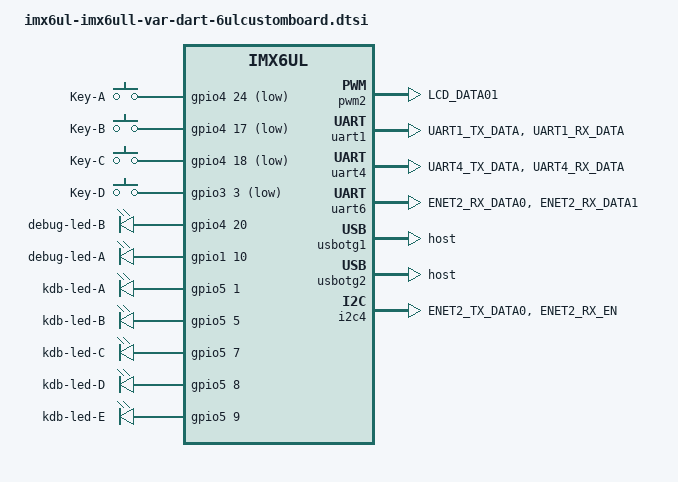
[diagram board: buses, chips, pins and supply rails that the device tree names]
/*
 * Copyright (C) 2015-2019 Variscite Ltd. - https://www.variscite.com
 *
 * This program is free software; you can redistribute it and/or modify
 * it under the terms of the GNU General Public License version 2 as
 * published by the Free Software Foundation.
 */

/ {
	chosen {
		stdout-path = &uart1;
	};

	keys {
		compatible = "gpio-keys";
		pinctrl-names = "default";
		pinctrl-0 = <&pinctrl_gpio_keys2>;

		keya {
			label = "Key-A";
			gpios = <&gpio4 24 GPIO_ACTIVE_LOW>;
			linux,code = <KEY_A>;
			wakeup-source;
		};

		keyb {
			label = "Key-B";
			gpios = <&gpio4 17 GPIO_ACTIVE_LOW>;
			linux,code = <KEY_B>;
			wakeup-source;
		};
		
		keyc {
			label = "Key-C";
			gpios = <&gpio4 18 GPIO_ACTIVE_LOW>;
			linux,code = <KEY_C>;
			wakeup-source;
		};
		
		keyd {
			label = "Key-D";
			gpios = <&gpio3 3 GPIO_ACTIVE_LOW>;
			linux,code = <KEY_D>;
			wakeup-source;
		};					
	};

	leds {
		compatible = "gpio-leds";
		pinctrl-names = "default";
		pinctrl-0 = <&pinctrl_gpio_leds>, <&pinctrl_gpio_leds2>;

		d16_led {
			gpios = <&gpio4 20 GPIO_ACTIVE_HIGH>;
			label = "debug-led-B";			
			linux,default-trigger = "heartbeat";
		};
		
		debug_ledA {
			gpios = <&gpio1 10 GPIO_ACTIVE_HIGH>;
			label = "debug-led-A";
		};		
		
		keyboard_ledA {
			gpios = <&gpio5 1 GPIO_ACTIVE_HIGH>;
			label = "kdb-led-A";
		};
		
		keyboard_ledB {
			gpios = <&gpio5 5 GPIO_ACTIVE_HIGH>;
			label = "kdb-led-B";
		};
		
		keyboard_ledC {
			gpios = <&gpio5 7 GPIO_ACTIVE_HIGH>;
			label = "kdb-led-C";
		};
		
		keyboard_ledD {
			gpios = <&gpio5 8 GPIO_ACTIVE_HIGH>;
			label = "kdb-led-D";
		};
		
		keyboard_ledE {
			gpios = <&gpio5 9 GPIO_ACTIVE_HIGH>;
			label = "kdb-led-E";
		};						
	};
};

&iomuxc {
	pinctrl-names = "default";
	pinctrl-0 = <&pinctrl_gpio_rele>, <&pinctrl_lora>, <&pinctrl_gpio_modem>, <&pinctrl_gpio_other>;
	
	pinctrl_gpio_other: gpioothergrp {
		fsl,pins = <
			MX6UL_PAD_UART3_RTS_B__GPIO1_IO27	0x17059 /* tamper sw */
			MX6UL_PAD_LCD_DATA00__GPIO3_IO05	0x10030 /* enable ricarica */
			MX6UL_PAD_UART1_CTS_B__GPIO1_IO18   0x1b0b0	/* production test mode */
			MX6UL_PAD_UART1_RTS_B__GPIO1_IO19   0x1b0b0 /* ready signal */
			MX6UL_PAD_CSI_DATA01__GPIO4_IO22    0x1b0b0 /* battery switch */
		>;	
	};	
	
	pinctrl_gpio_modem: modemgrp {
		fsl,pins = <
			MX6UL_PAD_GPIO1_IO09__GPIO1_IO09	0x10030 /* enable V modem */		
			MX6UL_PAD_CSI_DATA02__GPIO4_IO23	0x10030 /* powerkey */
			MX6UL_PAD_CSI_DATA00__GPIO4_IO21	0x10030 /* reset */
		>;	
	};

	pinctrl_gpio_rele: relegrp {
		fsl,pins = <
			MX6UL_PAD_LCD_DATA20__GPIO3_IO25	0x10030 /* rele 1 HYST */
			MX6UL_PAD_LCD_DATA21__GPIO3_IO26	0x10030 /* rele 2 HYST */
			MX6UL_PAD_LCD_DATA22__GPIO3_IO27	0x10030 /* rele 3 HYST */
			MX6UL_PAD_LCD_DATA23__GPIO3_IO28	0x10030 /* rele 4 HYST */
		>;
	};
	
	pinctrl_gpio_keys2: gpiokeys2grp {
		fsl,pins = <
			MX6UL_PAD_CSI_DATA03__GPIO4_IO24	0x17059 /* pulsante A PU 47K */
			MX6UL_PAD_CSI_MCLK__GPIO4_IO17		0x17059 /* pulsante B PU 47K */
			MX6UL_PAD_CSI_PIXCLK__GPIO4_IO18	0x17059 /* pulsante C PU 47K */
			MX6UL_PAD_LCD_VSYNC__GPIO3_IO03	    0x17059 /* pulsante D PU 47K */
		>;			
	};

	pinctrl_lora: lora_gpiogrp {
		fsl,pins = <
			MX6UL_PAD_ENET2_TX_DATA1__GPIO2_IO12	0x17059 /* LORA V_MCU enable PU 47K 0=enable*/
			MX6UL_PAD_UART3_TX_DATA__GPIO1_IO24		0x17059 /* LORA wakeup */
			MX6UL_PAD_UART3_CTS_B__GPIO1_IO26		0x10030 /* LORA reset */
			MX6UL_PAD_UART3_RX_DATA__GPIO1_IO25		0x10030 /* LORA boot */
			MX6UL_PAD_LCD_ENABLE__GPIO3_IO01		0x10030 /* LORA gpio A */
			MX6UL_PAD_LCD_RESET__GPIO3_IO04			0x10030 /* LORA gpio B */
		>;
	};	
	
	pinctrl_gpio_leds: gpio_ledsgrp {
		fsl,pins = <
			MX6UL_PAD_JTAG_MOD__GPIO1_IO10		0x1b0b0 /* led DBG-A */
			MX6UL_PAD_CSI_HSYNC__GPIO4_IO20		0x1b0b0 /* led DBG-B */
		>;
	};

	/* uart lora */
	pinctrl_uart4: uart4grp {
		fsl,pins = <
			MX6UL_PAD_UART4_TX_DATA__UART4_DCE_TX	0x1b0b1
			MX6UL_PAD_UART4_RX_DATA__UART4_DCE_RX	0x1b0b1
		>;
	};
	
	/* uart ext */
	pinctrl_uart6: uart6grp {
		fsl,pins = <
			MX6UL_PAD_ENET2_RX_DATA0__UART6_DCE_TX  0x1b0b1
			MX6UL_PAD_ENET2_RX_DATA1__UART6_DCE_RX  0x1b0b1
		>;
	};	

	pinctrl_pwm2: pwm2grp {
		fsl,pins = <
			MX6UL_PAD_LCD_DATA01__PWM2_OUT		0x110b0
		>;
	};

	/* uart debug */
	pinctrl_uart1: uart1grp {
		fsl,pins = <
			MX6UL_PAD_UART1_TX_DATA__UART1_DCE_TX   0x1b0b1
			MX6UL_PAD_UART1_RX_DATA__UART1_DCE_RX   0x1b0b1
		>;
	};

	pinctrl_wdog: wdoggrp {
		fsl,pins = <
			MX6UL_PAD_GPIO1_IO08__WDOG1_WDOG_B	0x78b0
		>;
	};

	pinctrl_i2c4: i2c4grp {
		fsl,pins = <
			MX6UL_PAD_ENET2_TX_DATA0__I2C4_SDA 0x4001b8b0
			MX6UL_PAD_ENET2_RX_EN__I2C4_SCL 0x4001b8b0
		>;
	};
};

&pwm2 {
	pinctrl-names = "default";
	pinctrl-0 = <&pinctrl_pwm2>;
	status = "okay";
};

&snvs_rtc {
	status = "disabled";
};

/* Console UART */
&uart1 {
	pinctrl-names = "default";
	pinctrl-0 = <&pinctrl_uart1>;
	status = "okay";
};

/* ttymxc3 UART lora */
&uart4 {
	pinctrl-names = "default";
	pinctrl-0 = <&pinctrl_uart4>;
	status = "okay";
};

/* ttymxc5 UART ext */
&uart6 {
	pinctrl-names = "default";
	pinctrl-0 = <&pinctrl_uart6>;
	status = "okay";
};

&usbotg1 {
	dr_mode = "host";
	status = "okay";
};

&usbotg2 {
	dr_mode = "host";
	status = "okay";
};

&wdog1 {
	pinctrl-names = "default";
	pinctrl-0 = <&pinctrl_wdog>;
	fsl,ext-reset-output;
};

&i2c4 {
	pinctrl-names = "default";
	pinctrl-0 = <&pinctrl_i2c4>;
	status = "okay";
};
